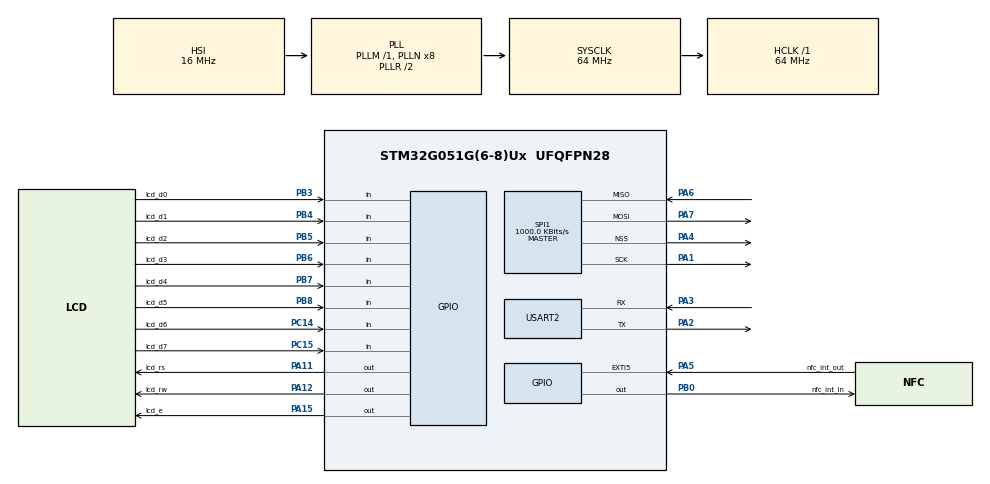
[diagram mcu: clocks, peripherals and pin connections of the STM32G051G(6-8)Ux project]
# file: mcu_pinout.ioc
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Mcu.Family=STM32G0
Mcu.Name=STM32G051G(6-8)Ux
Mcu.Package=UFQFPN28
PA1.Mode=Full_Duplex_Master
PA1.Signal=SPI1_SCK
PA11\ [PA9].GPIO_Label=lcd_rs
PA11\ [PA9].Signal=GPIO_Output
PA12\ [PA10].GPIO_Label=lcd_rw
PA12\ [PA10].Signal=GPIO_Output
PA13.Mode=Serial_Wire
PA13.Signal=SYS_SWDIO
PA14-BOOT0.Mode=Serial_Wire
PA14-BOOT0.Signal=SYS_SWCLK
PA15.GPIO_Label=lcd_e
PA15.Signal=GPIO_Output
PA2.Mode=Asynchronous
PA2.Signal=USART2_TX
PA3.Mode=Asynchronous
PA3.Signal=USART2_RX
PA4.Mode=NSS_Signal_Hard_Output
PA4.Signal=SPI1_NSS
PA5.GPIO_Label=nfc_int_out
PA5.Signal=GPXTI5
PA6.Mode=Full_Duplex_Master
PA6.Signal=SPI1_MISO
PA7.Mode=Full_Duplex_Master
PA7.Signal=SPI1_MOSI
PB0.GPIO_Label=nfc_int_in
PB0.PinState=GPIO_PIN_SET
PB0.Signal=GPIO_Output
PB3.GPIO_Label=lcd_d0
PB3.Signal=GPIO_Input
PB4.GPIO_Label=lcd_d1
PB4.Signal=GPIO_Input
PB5.GPIO_Label=lcd_d2
PB5.Signal=GPIO_Input
PB6.GPIO_Label=lcd_d3
PB6.Signal=GPIO_Input
PB7.GPIO_Label=lcd_d4
PB7.Signal=GPIO_Input
PB8.GPIO_Label=lcd_d5
PB8.Signal=GPIO_Input
PC14-OSC32_IN\ (PC14).GPIO_Label=lcd_d6
PC14-OSC32_IN\ (PC14).Signal=GPIO_Input
PC15-OSC32_OUT\ (PC15).GPIO_Label=lcd_d7
PC15-OSC32_OUT\ (PC15).Signal=GPIO_Input
ProjectManager.HeapSize=0x200
ProjectManager.StackSize=0x400
ProjectManager.TargetToolchain=STM32CubeIDE
RCC.ADCFreq_Value=64000000
RCC.AHBFreq_Value=64000000
RCC.CortexFreq_Value=64000000
RCC.EXTERNAL_CLOCK_VALUE=48000
RCC.HCLKFreq_Value=64000000
RCC.HSE_VALUE=8000000
RCC.HSI_VALUE=16000000
RCC.LSE_VALUE=32768
RCC.SYSCLKFreq_VALUE=64000000
RCC.SYSCLKSource=RCC_SYSCLKSOURCE_PLLCLK
RCC.VCOOutputFreq_Value=128000000
SPI1.BaudRatePrescaler=SPI_BAUDRATEPRESCALER_64
SPI1.CLKPolarity=SPI_POLARITY_LOW
SPI1.CalculateBaudRate=1000.0 KBits/s
SPI1.Direction=SPI_DIRECTION_2LINES
SPI1.Mode=SPI_MODE_MASTER
SPI1.VirtualNSS=VM_NSSHARD
SPI1.VirtualType=VM_MASTER
USART2.VirtualMode-Asynchronous=VM_ASYNC
VP_SYS_VS_DBSignals.Mode=DisableDeadBatterySignals
board=custom

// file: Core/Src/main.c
/* USER CODE BEGIN Header */
/**
  ******************************************************************************
  * @file           : main.c
  * @brief          : Main program body
  ******************************************************************************
  * @attention
  *
  * <h2><center>&copy; Copyright (c) 2022 STMicroelectronics.
  * All rights reserved.</center></h2>
  *
  * This software component is licensed by ST under BSD 3-Clause license,
  * the "License"; You may not use this file except in compliance with the
  * License. You may obtain a copy of the License at:
  *                        opensource.org/licenses/BSD-3-Clause
  *
  ******************************************************************************
  */
/* USER CODE END Header */
#include "main.h"

SPI_HandleTypeDef hspi1;

UART_HandleTypeDef huart2;

void SystemClock_Config(void);
static void MX_GPIO_Init(void);
static void MX_SPI1_Init(void);
static void MX_USART2_UART_Init(void);

/* USER CODE BEGIN 0 */
lcd_t lcd;
st25_t st25;
/* USER CODE END 0 */

int main(void)
{

  /* MCU Configuration--------------------------------------------------------*/

  /* Reset of all peripherals, Initializes the Flash interface and the Systick. */
  HAL_Init();

  /* Configure the system clock */
  SystemClock_Config();

  /* Initialize all configured peripherals */
  MX_GPIO_Init();
  MX_SPI1_Init();
  MX_USART2_UART_Init();
  /* USER CODE BEGIN 2 */
  lcd.data_gpio[0] = lcd_d0_GPIO_Port;
  lcd.data_gpio[1] = lcd_d1_GPIO_Port;
  lcd.data_gpio[2] = lcd_d2_GPIO_Port;
  lcd.data_gpio[3] = lcd_d3_GPIO_Port;
  lcd.data_gpio[4] = lcd_d4_GPIO_Port;
  lcd.data_gpio[5] = lcd_d5_GPIO_Port;
  lcd.data_gpio[6] = lcd_d6_GPIO_Port;
  lcd.data_gpio[7] = lcd_d7_GPIO_Port;
  lcd.data_pin[0] = lcd_d0_Pin;
  lcd.data_pin[1] = lcd_d1_Pin;
  lcd.data_pin[2] = lcd_d2_Pin;
  lcd.data_pin[3] = lcd_d3_Pin;
  lcd.data_pin[4] = lcd_d4_Pin;
  lcd.data_pin[5] = lcd_d5_Pin;
  lcd.data_pin[6] = lcd_d6_Pin;
  lcd.data_pin[7] = lcd_d7_Pin;
  lcd.ctrl_gpio[CTRL_E] = lcd_e_GPIO_Port;
  lcd.ctrl_gpio[CTRL_RS] = lcd_rs_GPIO_Port;
  lcd.ctrl_gpio[CTRL_RW] = lcd_rw_GPIO_Port;
  lcd.ctrl_pin[CTRL_E] = lcd_e_Pin;
  lcd.ctrl_pin[CTRL_RS] = lcd_rs_Pin;
  lcd.ctrl_pin[CTRL_RW] = lcd_rw_Pin;

  lcd_init(&lcd);
  lcd_clear(&lcd);
  lcd_write_line(&lcd, LCD_LINE0, "0000_0000_0000_0000_");
  lcd_write_line(&lcd, LCD_LINE1, "1111_1111_1111_1111_");
  lcd_write_line(&lcd, LCD_LINE2, "2222_2222_2222_2222_");
  lcd_write_line(&lcd, LCD_LINE3, "3333_3333_3333_3333_");

  st25.nfc_irq_in_gpio = nfc_int_in_GPIO_Port;
  st25.nfc_irq_in_pin = nfc_int_in_Pin;
  st25.spi = &hspi1;
  st25_init(&st25);
  /* USER CODE END 2 */

  /* Infinite loop */
  while (1)
  {

  }
}

void SystemClock_Config(void)
{
  RCC_OscInitTypeDef RCC_OscInitStruct = {0};
  RCC_ClkInitTypeDef RCC_ClkInitStruct = {0};

  /** Configure the main internal regulator output voltage
  */
  HAL_PWREx_ControlVoltageScaling(PWR_REGULATOR_VOLTAGE_SCALE1);
  /** Initializes the RCC Oscillators according to the specified parameters
  * in the RCC_OscInitTypeDef structure.
  */
  RCC_OscInitStruct.OscillatorType = RCC_OSCILLATORTYPE_HSI;
  RCC_OscInitStruct.HSIState = RCC_HSI_ON;
  RCC_OscInitStruct.HSIDiv = RCC_HSI_DIV1;
  RCC_OscInitStruct.HSICalibrationValue = RCC_HSICALIBRATION_DEFAULT;
  RCC_OscInitStruct.PLL.PLLState = RCC_PLL_ON;
  RCC_OscInitStruct.PLL.PLLSource = RCC_PLLSOURCE_HSI;
  RCC_OscInitStruct.PLL.PLLM = RCC_PLLM_DIV1;
  RCC_OscInitStruct.PLL.PLLN = 8;
  RCC_OscInitStruct.PLL.PLLP = RCC_PLLP_DIV2;
  RCC_OscInitStruct.PLL.PLLQ = RCC_PLLQ_DIV2;
  RCC_OscInitStruct.PLL.PLLR = RCC_PLLR_DIV2;
  if (HAL_RCC_OscConfig(&RCC_OscInitStruct) != HAL_OK)
  {
    Error_Handler();
  }
  /** Initializes the CPU, AHB and APB buses clocks
  */
  RCC_ClkInitStruct.ClockType = RCC_CLOCKTYPE_HCLK|RCC_CLOCKTYPE_SYSCLK
                              |RCC_CLOCKTYPE_PCLK1;
  RCC_ClkInitStruct.SYSCLKSource = RCC_SYSCLKSOURCE_PLLCLK;
  RCC_ClkInitStruct.AHBCLKDivider = RCC_SYSCLK_DIV1;
  RCC_ClkInitStruct.APB1CLKDivider = RCC_HCLK_DIV1;

  if (HAL_RCC_ClockConfig(&RCC_ClkInitStruct, FLASH_LATENCY_2) != HAL_OK)
  {
    Error_Handler();
  }
}

static void MX_SPI1_Init(void)
{

  /* SPI1 parameter configuration*/
  hspi1.Instance = SPI1;
  hspi1.Init.Mode = SPI_MODE_MASTER;
  hspi1.Init.Direction = SPI_DIRECTION_2LINES;
  hspi1.Init.DataSize = SPI_DATASIZE_8BIT;
  hspi1.Init.CLKPolarity = SPI_POLARITY_LOW;
  hspi1.Init.CLKPhase = SPI_PHASE_1EDGE;
  hspi1.Init.NSS = SPI_NSS_HARD_OUTPUT;
  hspi1.Init.BaudRatePrescaler = SPI_BAUDRATEPRESCALER_64;
  hspi1.Init.FirstBit = SPI_FIRSTBIT_MSB;
  hspi1.Init.TIMode = SPI_TIMODE_DISABLE;
  hspi1.Init.CRCCalculation = SPI_CRCCALCULATION_DISABLE;
  hspi1.Init.CRCPolynomial = 7;
  hspi1.Init.CRCLength = SPI_CRC_LENGTH_DATASIZE;
  hspi1.Init.NSSPMode = SPI_NSS_PULSE_ENABLE;
  if (HAL_SPI_Init(&hspi1) != HAL_OK)
  {
    Error_Handler();
  }

}

static void MX_USART2_UART_Init(void)
{

  huart2.Instance = USART2;
  huart2.Init.BaudRate = 115200;
  huart2.Init.WordLength = UART_WORDLENGTH_8B;
  huart2.Init.StopBits = UART_STOPBITS_1;
  huart2.Init.Parity = UART_PARITY_NONE;
  huart2.Init.Mode = UART_MODE_TX_RX;
  huart2.Init.HwFlowCtl = UART_HWCONTROL_NONE;
  huart2.Init.OverSampling = UART_OVERSAMPLING_16;
  huart2.Init.OneBitSampling = UART_ONE_BIT_SAMPLE_DISABLE;
  huart2.Init.ClockPrescaler = UART_PRESCALER_DIV1;
  huart2.AdvancedInit.AdvFeatureInit = UART_ADVFEATURE_NO_INIT;
  if (HAL_UART_Init(&huart2) != HAL_OK)
  {
    Error_Handler();
  }

}

static void MX_GPIO_Init(void)
{
  GPIO_InitTypeDef GPIO_InitStruct = {0};

  /* GPIO Ports Clock Enable */
  __HAL_RCC_GPIOC_CLK_ENABLE();
  __HAL_RCC_GPIOA_CLK_ENABLE();
  __HAL_RCC_GPIOB_CLK_ENABLE();

  /*Configure GPIO pin Output Level */
  HAL_GPIO_WritePin(nfc_int_in_GPIO_Port, nfc_int_in_Pin, GPIO_PIN_SET);

  /*Configure GPIO pin Output Level */
  HAL_GPIO_WritePin(GPIOA, lcd_rs_Pin|lcd_rw_Pin|lcd_e_Pin, GPIO_PIN_RESET);

  /*Configure GPIO pins : lcd_d6_Pin lcd_d7_Pin */
  GPIO_InitStruct.Pin = lcd_d6_Pin|lcd_d7_Pin;
  GPIO_InitStruct.Mode = GPIO_MODE_INPUT;
  GPIO_InitStruct.Pull = GPIO_NOPULL;
  HAL_GPIO_Init(GPIOC, &GPIO_InitStruct);

  /*Configure GPIO pin : nfc_int_out_Pin */
  GPIO_InitStruct.Pin = nfc_int_out_Pin;
  GPIO_InitStruct.Mode = GPIO_MODE_IT_RISING;
  GPIO_InitStruct.Pull = GPIO_NOPULL;
  HAL_GPIO_Init(nfc_int_out_GPIO_Port, &GPIO_InitStruct);

  /*Configure GPIO pin : nfc_int_in_Pin */
  GPIO_InitStruct.Pin = nfc_int_in_Pin;
  GPIO_InitStruct.Mode = GPIO_MODE_OUTPUT_PP;
  GPIO_InitStruct.Pull = GPIO_NOPULL;
  GPIO_InitStruct.Speed = GPIO_SPEED_FREQ_LOW;
  HAL_GPIO_Init(nfc_int_in_GPIO_Port, &GPIO_InitStruct);

  /*Configure GPIO pins : lcd_rs_Pin lcd_rw_Pin lcd_e_Pin */
  GPIO_InitStruct.Pin = lcd_rs_Pin|lcd_rw_Pin|lcd_e_Pin;
  GPIO_InitStruct.Mode = GPIO_MODE_OUTPUT_PP;
  GPIO_InitStruct.Pull = GPIO_NOPULL;
  GPIO_InitStruct.Speed = GPIO_SPEED_FREQ_LOW;
  HAL_GPIO_Init(GPIOA, &GPIO_InitStruct);

  /*Configure GPIO pins : lcd_d0_Pin lcd_d1_Pin lcd_d2_Pin lcd_d3_Pin
                           lcd_d4_Pin lcd_d5_Pin */
  GPIO_InitStruct.Pin = lcd_d0_Pin|lcd_d1_Pin|lcd_d2_Pin|lcd_d3_Pin
                          |lcd_d4_Pin|lcd_d5_Pin;
  GPIO_InitStruct.Mode = GPIO_MODE_INPUT;
  GPIO_InitStruct.Pull = GPIO_NOPULL;
  HAL_GPIO_Init(GPIOB, &GPIO_InitStruct);

}

void Error_Handler(void)
{
  __disable_irq();
  while (1)
  {
  }
}

/************************ (C) COPYRIGHT STMicroelectronics *****END OF FILE****/
